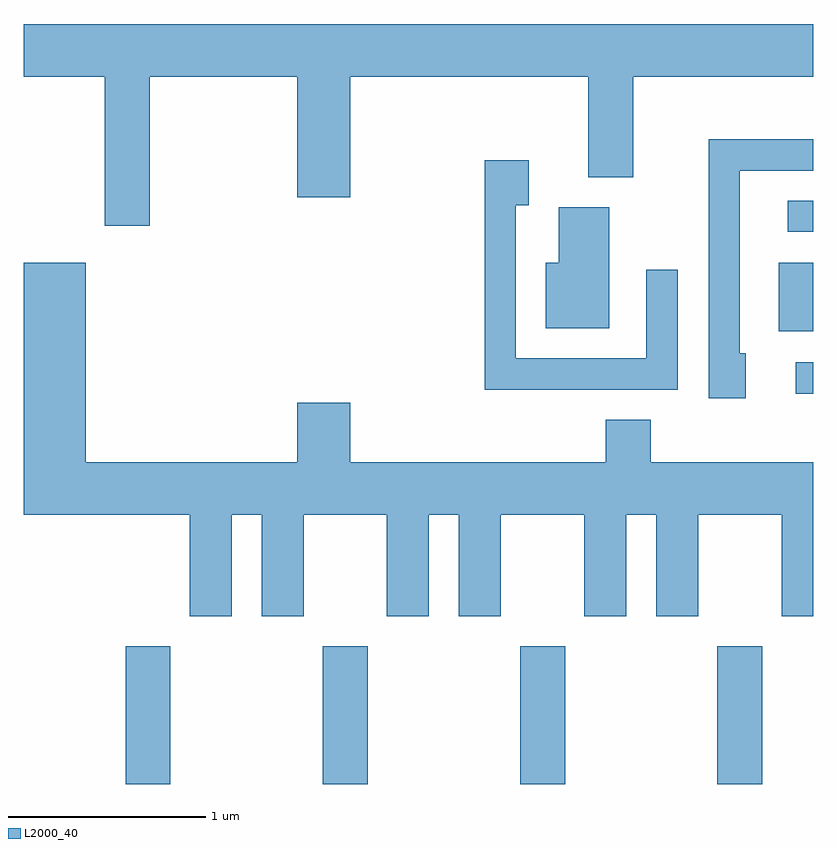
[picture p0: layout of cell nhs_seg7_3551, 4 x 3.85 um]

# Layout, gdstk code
import gdstk
lib = gdstk.Library(unit=1e-6, precision=1e-09)
def R(c, l, rs):  # rectangles x0, y0, x1, y1
    for r in rs: c.add(gdstk.rectangle(r[:2], r[2:], *l))
def A(c, l, x, y, w, h, nx, ny, dx, dy):  # array of equal rectangles
    R(c, l, [(x+i*dx, y+j*dy, x+i*dx+w, y+j*dy+h) for i in range(nx) for j in range(ny)])
def P(c, l, *ps):  # polygons
    for p in ps: c.add(gdstk.Polygon(p, *l))
L2000_40 = (2000, 40)

nhs_seg7_3551 = lib.new_cell('nhs_seg7_3551')
A(nhs_seg7_3551, L2000_40, 294.126, 1746.252, 0.228, 0.697, 4, 1, 1, 0)
R(nhs_seg7_3551, L2000_40, [(297.523,1748.231,297.611,1748.389), (297.436,1748.546,297.611,1748.894), (297.483,1749.051,297.611,1749.209)])
P(nhs_seg7_3551, L2000_40, [(294.249,1749.836),(294.996,1749.836),(294.996,1749.226),(295.264,1749.226),(295.264,1749.836),(296.471,1749.836),(296.471,1749.326),(296.699,1749.326),(296.699,1749.836),(297.611,1749.836),(297.611,1750.104),(293.611,1750.104),(293.611,1749.836),(294.021,1749.836),(294.021,1749.081),(294.249,1749.081)],
  [(297.269,1748.434),(297.239,1748.434),(297.239,1749.361),(297.611,1749.361),(297.611,1749.519),(297.081,1749.519),(297.081,1748.206),(297.269,1748.206)],
  [(296.924,1748.858),(296.766,1748.858),(296.766,1748.409),(296.104,1748.409),(296.104,1749.186),(296.169,1749.186),(296.169,1749.414),(295.946,1749.414),(295.946,1748.251),(296.924,1748.251)],
  [(296.579,1749.174),(296.321,1749.174),(296.321,1748.894),(296.256,1748.894),(296.256,1748.561),(296.579,1748.561)],
  [(296.789,1748.099),(296.561,1748.099),(296.561,1747.884),(295.264,1747.884),(295.264,1748.184),(294.996,1748.184),(294.996,1747.884),(293.924,1747.884),(293.924,1748.894),(293.611,1748.894),(293.611,1747.616),(294.451,1747.616),(294.451,1747.101),(294.664,1747.101),(294.664,1747.616),(294.816,1747.616),(294.816,1747.101),(295.029,1747.101),(295.029,1747.616),(295.451,1747.616),(295.451,1747.101),(295.664,1747.101),(295.664,1747.616),(295.816,1747.616),(295.816,1747.101),(296.029,1747.101),(296.029,1747.616),(296.451,1747.616),(296.451,1747.101),(296.664,1747.101),(296.664,1747.616),(296.816,1747.616),(296.816,1747.101),(297.029,1747.101),(297.029,1747.616),(297.451,1747.616),(297.451,1747.101),(297.611,1747.101),(297.611,1747.884),(296.789,1747.884)])

lib.write_gds('nhs_seg7_3551.gds')
